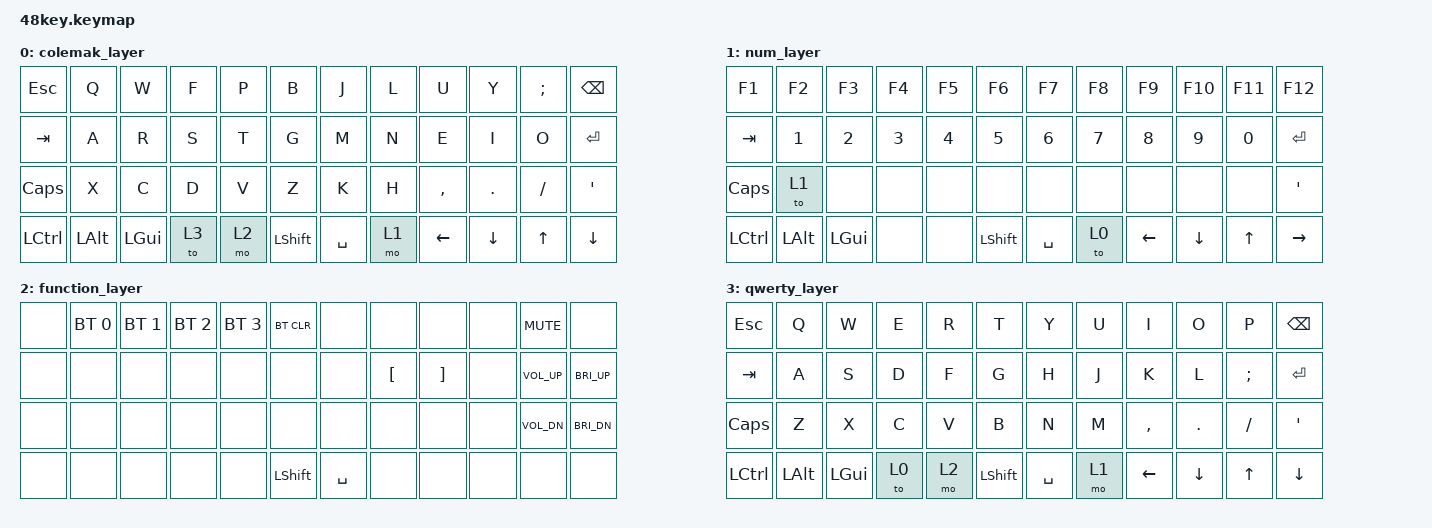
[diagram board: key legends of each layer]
#include <behaviors.dtsi>
#include <dt-bindings/zmk/keys.h>
#include <dt-bindings/zmk/bt.h>

/ {
    keymap{
        compatible = "zmk,keymap";

        colemak_layer{
            bindings = <
                &kp ESC     &kp Q       &kp W    &kp F  &kp P   &kp B       &kp J       &kp L   &kp U       &kp Y       &kp SEMI    &kp BSPC
                &kp TAB     &kp A       &kp R    &kp S  &kp T   &kp G       &kp M       &kp N   &kp E       &kp I       &kp O       &kp ENTER
                &kp CAPS    &kp X       &kp C    &kp D  &kp V   &kp Z       &kp K       &kp H   &kp COMMA   &kp DOT     &kp SLASH   &kp APOS
                &kp LCTRL   &kp LALT    &kp LGUI &to 3  &mo 2   &kp LSHIFT  &kp SPACE   &mo 1   &kp LEFT    &kp DOWN    &kp UP      &kp DOWN
            >;
        };

        num_layer{
            bindings = <
                &kp F1 &kp F2 &kp F3 &kp F4 &kp F5 &kp F6 &kp F7 &kp F8 &kp F9 &kp F10 &kp F11 &kp F12
                &kp TAB &kp N1 &kp N2 &kp N3 &kp N4 &kp N5 &kp N6 &kp N7 &kp N8 &kp N9 &kp N0 &kp ENTER
                &kp CAPS &to 1 &none &none &none &none &none &none &none &none &none &kp APOS
                &kp LCTRL &kp LALT &kp LGUI &none &none &kp LSHIFT &kp SPACE &to 0 &kp LEFT &kp DOWN &kp UP &kp RIGHT
            >;
        };

        function_layer{
            bindings = <
                &none &bt BT_SEL 0 &bt BT_SEL 1 &bt BT_SEL 2 &bt BT_SEL 3 &bt BT_CLR &none &none &none &none &kp C_MUTE &none
                &none &none &none &none &none &none &none &kp LBKT &kp RBKT &none &kp C_VOL_UP &kp C_BRI_UP
                &none &none &none &none &none &none &none &none &none &none &kp C_VOL_DN &kp C_BRI_DN
                &none &none &none &none &none &kp LSHIFT &kp SPACE &none &none &none &none &none
            >;
        };

        qwerty_layer{
            bindings = <
                &kp ESC &kp Q &kp W &kp E &kp R &kp T &kp Y &kp U &kp I &kp O &kp P &kp BSPC
                &kp TAB &kp A &kp S &kp D &kp F &kp G &kp H &kp J &kp K &kp L &kp SEMI &kp ENTER
                &kp CAPS &kp Z &kp X &kp C &kp V &kp B &kp N &kp M &kp COMMA &kp DOT &kp SLASH &kp APOS
                &kp LCTRL &kp LALT &kp LGUI &to 0 &mo 2 &kp LSHIFT &kp SPACE &mo 1 &kp LEFT &kp DOWN &kp UP &kp DOWN
            >;
        }


    }
}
